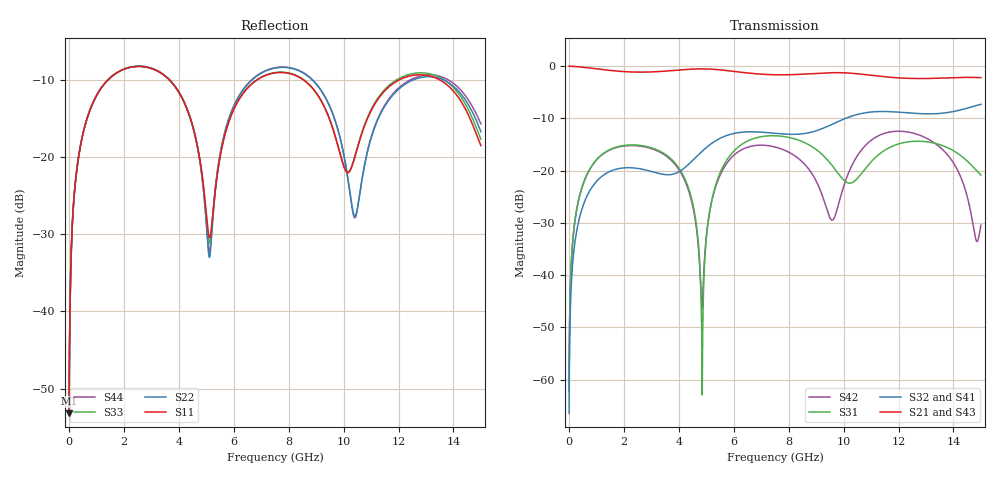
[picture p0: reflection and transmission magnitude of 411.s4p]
! Created with skrf 1.8.0 (http://scikit-rf.org).
# GHz S RI R 50.0
!freq ReS11 ImS11 ReS12 ImS12 ReS13 ImS13
! ReS14 ImS14
! ReS21 ImS21 ReS22 ImS22 ReS23 ImS23
! ReS24 ImS24
! ReS31 ImS31 ReS32 ImS32 ReS33 ImS33
! ReS34 ImS34
! ReS41 ImS41 ReS42 ImS42 ReS43 ImS43
! ReS44 ImS44
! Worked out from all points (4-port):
!   2499 points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, 5 MHz to 15 GHz, reference 50 ohm
!   strongest paths, dB at 5 MHz, 3.476 GHz, 7.19 GHz, 11.1 GHz, 15 GHz:
!     S21: 0.0, -1.0, -1.6, -1.8, -2.2
!     S43: 0.0, -1.0, -1.6, -1.8, -2.2
!     S32: -66.4, -20.8, -12.7, -8.7, -7.3
!     S41: -66.4, -20.7, -12.7, -8.7, -7.3
!     S31: -62.3, -16.8, -13.4, -17.8, -20.8
!     S42: -62.3, -17.0, -15.2, -13.8, -30.4
!   lowest |S11| = -53.2 dB at 5 MHz (marker M1), VSWR 1.00, Z = 50.2 + j0.132 ohm
!   |S11| at or under -10 dB: 3.644 GHz to 6.871 GHz (3.226 GHz wide, 61.4 % of centre); 8.517 GHz to 12.05 GHz (3.531 GHz wide, 34.3 % of centre); 13.48 GHz to end of sweep (the widest 3 of 4)
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0.005  0.00175 0.00132  0.9982 -0.0034  9.06e-05 0.000764  -8.75e-05 -0.000468
       0.9982 -0.0034  0.00175 0.00132  -8.75e-05 -0.000468  9.05e-05 0.000764
       9.06e-05 0.000764  -8.75e-05 -0.000468  0.00175 0.00132  0.9982 -0.0034
       -8.75e-05 -0.000468  9.05e-05 0.000764  0.9982 -0.0034  0.00175 0.00132
0.3626511  0.0337 0.0979  0.9532 -0.2424  0.0179 0.051  -0.0144 -0.0304
           0.9532 -0.2424  0.0338 0.0979  -0.0144 -0.0304  0.0174 0.0511
           0.0179 0.051  -0.0144 -0.0304  0.0337 0.0979  0.9532 -0.2424
           -0.0144 -0.0304  0.0174 0.0511  0.9532 -0.2424  0.0338 0.0979
1.720455  0.3153 0.1465  0.4289 -0.7879  0.1614 0.0459  -0.1019 0.0164
          0.4289 -0.7879  0.3171 0.1448  -0.1019 0.0163  0.1573 0.0534
          0.1614 0.0459  -0.1019 0.0163  0.3153 0.1464  0.4289 -0.7879
          -0.1019 0.0164  0.1573 0.0534  0.4289 -0.7879  0.317 0.1448
4.848636  0.04 -0.065  -0.9089 -0.2423  0.000672 -0.000532  -0.0341 0.1495
          -0.9089 -0.2423  0.0323 -0.0663  -0.0355 0.1492  -0.00483 0.000876
          0.000672 -0.000532  -0.0355 0.1492  0.038 -0.0643  -0.9091 -0.2419
          -0.0341 0.1495  -0.00483 0.000876  -0.9091 -0.2419  0.0338 -0.0648
6.115048  0.158 0.1562  -0.7559 0.4549  0.1464 0.074  0.152 0.1718
          -0.7559 0.4549  0.163 0.1665  0.1506 0.1732  0.1092 0.1001
          0.1464 0.074  0.1506 0.1732  0.157 0.1593  -0.7552 0.4551
          0.152 0.1718  0.1092 0.1001  -0.7552 0.4551  0.1662 0.1662
10.36057  0.0843 0.039  0.844 0.1067  -0.0521 0.058  0.0315 -0.3348
          0.844 0.1067  0.0403 -0.0151  0.0356 -0.3343  0.0693 0.0979
          -0.0521 0.058  0.0356 -0.3343  0.0852 0.0408  0.8438 0.1068
          0.0315 -0.3348  0.0693 0.0979  0.8438 0.1068  0.0393 -0.0146
15  0.1088 -0.0459  -0.6577 -0.4102  -0.0873 -0.0248  -0.2196 0.3693
    -0.6577 -0.4102  0.1146 -0.0894  -0.229 0.3649  -0.0181 0.024
    -0.0873 -0.0248  -0.229 0.3649  0.115 -0.0608  -0.6517 -0.4156
    -0.2196 0.3693  -0.0181 0.024  -0.6517 -0.4156  0.1274 -0.102
